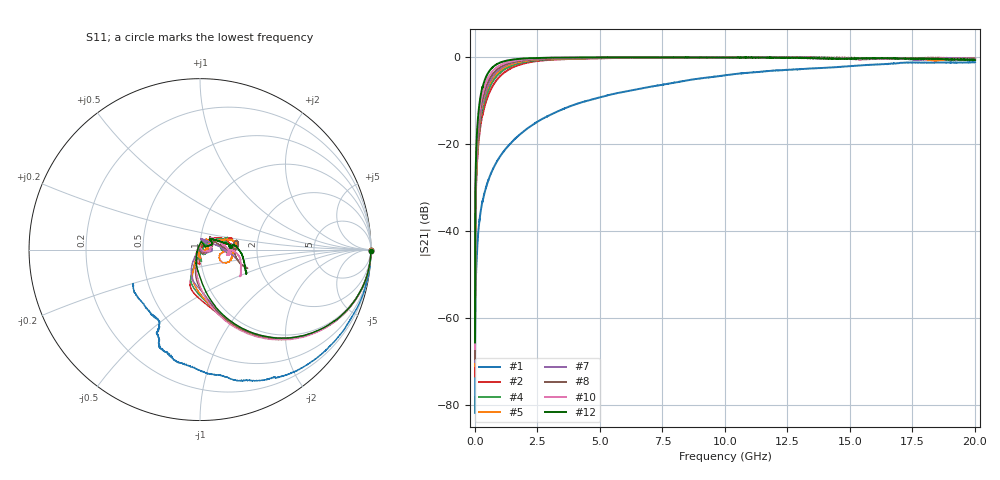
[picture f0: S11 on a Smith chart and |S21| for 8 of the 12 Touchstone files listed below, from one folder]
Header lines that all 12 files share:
!Johanson Technology Inc.
!www.johansontechnology.com
!Test Board Conditions:
!Substrate Type  RO4350B
!Substrate Thickness  10 mil
!Substrate Dk  3.66
!TL Type: GCPW
!TL Trace Width  22 mil
!TL Gap  25 mil
!Electrode orientation  Horizontal
!DUT TOPOLOGY	SERIES
!Mounting Pad LxW  11x14.5 mil
! Created Wed Nov 25 17:33:21 2020
! 2 Port Network Data from SP1.SP block
! freq  magS11  angS11  magS21  angS21  magS12  angS12  magS22  angS22
# khz S ma R 50
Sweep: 300 kHz to 20 GHz
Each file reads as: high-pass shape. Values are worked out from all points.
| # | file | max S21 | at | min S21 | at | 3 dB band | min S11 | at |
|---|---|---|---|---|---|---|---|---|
| 1 | R05L0R1-H-SER.s2p | -1.16 dB | 19.95 GHz | -81.8 dB | 300 kHz | 10.03 GHz-20 GHz | -7.1 dB | 19.99 GHz |
| 2 | R05L1R2-H-SER.s2p | -0.03 dB | 12.67 GHz | -73.4 dB | 300 kHz | 1.296 GHz-20 GHz | -44.3 dB | 8.724 GHz |
| 3 | R05L1R3-H-SER.s2p | -0.07 dB | 8.898 GHz | -71.7 dB | 300 kHz | 1.249 GHz-20 GHz | -34.1 dB | 12.92 GHz |
| 4 | R05L1R4-H-SER.s2p | -0.04 dB | 8.278 GHz | -69.7 dB | 300 kHz | 1.121 GHz-20 GHz | -63.4 dB | 8.572 GHz |
| 5 | R05L1R5-H-SER.s2p | -0.06 dB | 8.136 GHz | -71.1 dB | 300 kHz | 984.3 MHz-20 GHz | -46.8 dB | 8.409 GHz |
| 6 | R05L1R6-H-SER.s2p | -0.03 dB | 8.247 GHz | -71.3 dB | 300 kHz | 1.004 GHz-20 GHz | -49.8 dB | 8.329 GHz |
| 7 | R05L1R7-H-SER.s2p | -0.03 dB | 7.646 GHz | -70.1 dB | 300 kHz | 922.3 MHz-20 GHz | -45.9 dB | 7.453 GHz |
| 8 | R05L1R9-H-SER.s2p | -0.06 dB | 7.536 GHz | -69.5 dB | 300 kHz | 837.3 MHz-20 GHz | -37.8 dB | 7.422 GHz |
| 9 | R05L2R0-H-SER.s2p | -0.03 dB | 7.631 GHz | -67.7 dB | 300 kHz | 837.3 MHz-20 GHz | -36.2 dB | 7.35 GHz |
| 10 | R05L2R2-H-SER.s2p | -0.04 dB | 6.864 GHz | -67.1 dB | 300 kHz | 734.3 MHz-20 GHz | -37.5 dB | 7.165 GHz |
| 11 | R05L2R4-H-SER.s2p | -0.04 dB | 6.342 GHz | -66.9 dB | 300 kHz | 675.3 MHz-20 GHz | -45.6 dB | 6.713 GHz |
| 12 | R05L2R7-H-SER.s2p | -0.03 dB | 5.694 GHz | -65.6 dB | 300 kHz | 596.3 MHz-20 GHz | -38.0 dB | 6.891 GHz |
